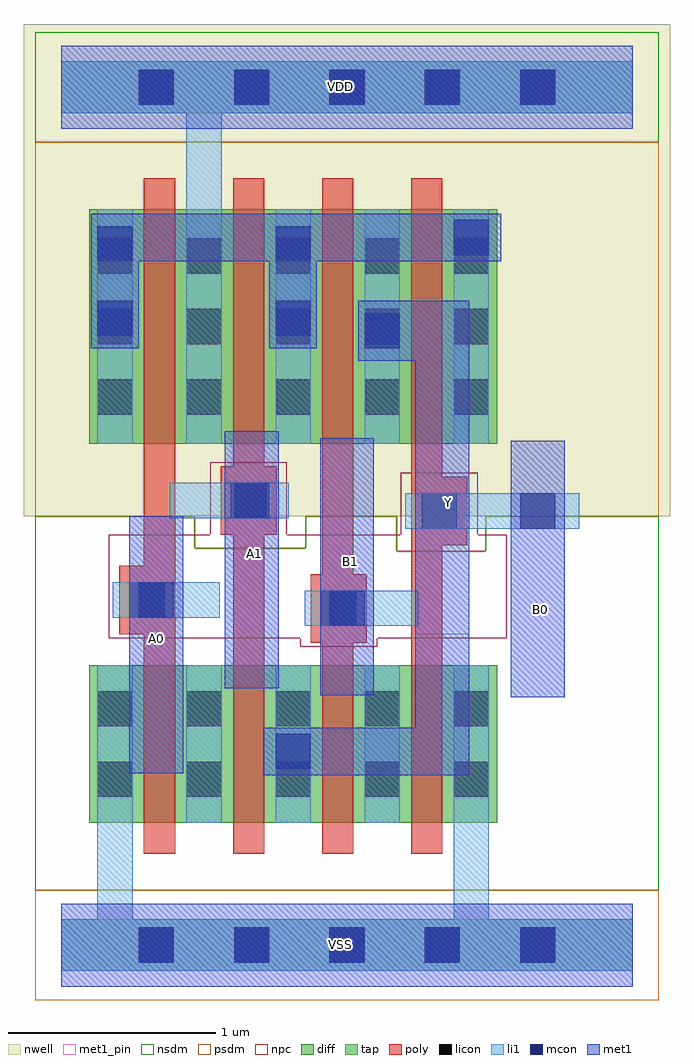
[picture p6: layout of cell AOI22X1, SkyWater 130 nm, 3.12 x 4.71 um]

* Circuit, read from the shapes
.subckt AOI22X1 A0 A1 B0 B1 VDD VSS Y
XM1 n1 A0 VSS VSS sky130_fd_pr__nfet_01v8 w=0.76 l=0.15
XM2 Y A1 n1 VSS sky130_fd_pr__nfet_01v8 w=0.76 l=0.15
XM3 n2 B1 Y VSS sky130_fd_pr__nfet_01v8 w=0.76 l=0.15
XM4 VSS B0 n2 VSS sky130_fd_pr__nfet_01v8 w=0.76 l=0.15
XM5 VDD A0 n3 VDD sky130_fd_pr__pfet_01v8 w=1.13 l=0.15
XM6 n3 A1 VDD VDD sky130_fd_pr__pfet_01v8 w=1.13 l=0.15
XM7 Y B1 n3 VDD sky130_fd_pr__pfet_01v8 w=1.13 l=0.15
XM8 n3 B0 Y VDD sky130_fd_pr__pfet_01v8 w=1.13 l=0.15
.ends

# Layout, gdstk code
from math import pi, radians
import gdstk
lib = gdstk.Library(unit=1e-6, precision=1e-09)
def R(c, l, rs):  # rectangles x0, y0, x1, y1
    for r in rs: c.add(gdstk.rectangle(r[:2], r[2:], *l))
def A(c, l, x, y, w, h, nx, ny, dx, dy):  # array of equal rectangles
    R(c, l, [(x+i*dx, y+j*dy, x+i*dx+w, y+j*dy+h) for i in range(nx) for j in range(ny)])
def P(c, l, *ps):  # polygons
    for p in ps: c.add(gdstk.Polygon(p, *l))
nwell = (64, 20)
diff = (65, 20)
tap = (65, 44)
poly = (66, 20)
licon = (66, 44)
li1 = (67, 20)
mcon = (67, 44)
met1_pin = (68, 16)
met1 = (68, 20)
nsdm = (93, 44)
psdm = (94, 20)
npc = (95, 20)

nfet_01v8_cdns_716492285 = lib.new_cell('nfet_01v8_CDNS_71649228522219')
R(nfet_01v8_cdns_716492285, diff, [(-0.225,0,0,0.76), (0,0,0.15,0.76), (0.15,0,0.375,0.76)])
R(nfet_01v8_cdns_716492285, poly, [(0,-0.15,0.15,-0.095), (0,-0.095,0.15,0), (0,0,0.15,0.76), (0,0.76,0.15,0.855), (0,0.855,0.15,0.91)])
R(nfet_01v8_cdns_716492285, licon, [(0.205,0.125,0.375,0.295), (0.205,0.465,0.375,0.635)])
R(nfet_01v8_cdns_716492285, li1, [(0.205,0,0.375,0.76)])
R(nfet_01v8_cdns_716492285, nsdm, [(-0.235,-0.13,0.385,0.89)])

pfet_01v8_cdns_716492285 = lib.new_cell('pfet_01v8_CDNS_71649228522130')
R(pfet_01v8_cdns_716492285, nwell, [(-0.235,-0.18,0.555,1.31)])
R(pfet_01v8_cdns_716492285, diff, [(-0.055,0,0,1.13), (0,0,0.15,1.13), (0.15,0,0.375,1.13)])
R(pfet_01v8_cdns_716492285, poly, [(0,-0.15,0.15,-0.095), (0,-0.095,0.15,0), (0,0,0.15,1.13), (0,1.13,0.15,1.225), (0,1.225,0.15,1.28)])
A(pfet_01v8_cdns_716492285, licon, 0.205, 0.14, 0.17, 0.17, 1, 3, 0, 0.34)
R(pfet_01v8_cdns_716492285, li1, [(0.205,0,0.375,1.13)])
R(pfet_01v8_cdns_716492285, psdm, [(-0.065,-0.13,0.385,1.26)])

c_pfet_01v8_cdns_716492285 = lib.new_cell('pfet_01v8_CDNS_7164922852212')
R(c_pfet_01v8_cdns_716492285, nwell, [(-0.405,-0.18,0.595,1.31)])
R(c_pfet_01v8_cdns_716492285, diff, [(-0.225,0,0,1.13), (0,0,0.15,1.13), (0.15,0,0.415,1.13)])
R(c_pfet_01v8_cdns_716492285, poly, [(0,-0.15,0.15,-0.095), (0,-0.095,0.15,0), (0,0,0.15,1.13), (0,1.13,0.15,1.225), (0,1.225,0.15,1.28)])
A(c_pfet_01v8_cdns_716492285, licon, -0.225, 0.14, 0.17, 0.17, 1, 3, 0, 0.34)
A(c_pfet_01v8_cdns_716492285, licon, 0.205, 0.14, 0.17, 0.17, 1, 3, 0, 0.34)
R(c_pfet_01v8_cdns_716492285, li1, [(-0.225,0,-0.055,1.13), (0.205,0,0.375,1.13)])
R(c_pfet_01v8_cdns_716492285, psdm, [(-0.235,-0.13,0.555,1.26)])

c_nfet_01v8_cdns_716492285 = lib.new_cell('nfet_01v8_CDNS_71649228522220')
R(c_nfet_01v8_cdns_716492285, diff, [(-0.225,0,0,0.76), (0,0,0.15,0.76), (0.15,0,0.205,0.76)])
R(c_nfet_01v8_cdns_716492285, poly, [(0,-0.15,0.15,-0.095), (0,-0.095,0.15,0), (0,0,0.15,0.76), (0,0.76,0.15,0.855), (0,0.855,0.15,0.91)])
R(c_nfet_01v8_cdns_716492285, nsdm, [(-0.235,-0.13,0.215,0.89)])

c_nfet_01v8_cdns_716492285_ = lib.new_cell('nfet_01v8_CDNS_71649228522221')
R(c_nfet_01v8_cdns_716492285_, diff, [(-0.265,0,0,0.76), (0,0,0.15,0.76), (0.15,0,0.205,0.76)])
R(c_nfet_01v8_cdns_716492285_, poly, [(0,-0.15,0.15,-0.095), (0,-0.095,0.15,0), (0,0,0.15,0.76), (0,0.76,0.15,0.855), (0,0.855,0.15,0.91)])
R(c_nfet_01v8_cdns_716492285_, licon, [(-0.225,0.125,-0.055,0.295), (-0.225,0.465,-0.055,0.635)])
R(c_nfet_01v8_cdns_716492285_, li1, [(-0.225,0,-0.055,0.76)])
R(c_nfet_01v8_cdns_716492285_, nsdm, [(-0.405,-0.13,0.215,0.89)])

c_pfet_01v8_cdns_716492285_ = lib.new_cell('pfet_01v8_CDNS_71649228522145')
R(c_pfet_01v8_cdns_716492285_, nwell, [(-0.445,-0.18,0.385,1.31)])
R(c_pfet_01v8_cdns_716492285_, diff, [(-0.265,0,0,1.13), (0,0,0.15,1.13), (0.15,0,0.205,1.13)])
R(c_pfet_01v8_cdns_716492285_, poly, [(0,-0.15,0.15,-0.095), (0,-0.095,0.15,0), (0,0,0.15,1.13), (0,1.13,0.15,1.225), (0,1.225,0.15,1.28)])
A(c_pfet_01v8_cdns_716492285_, licon, -0.225, 0.14, 0.17, 0.17, 1, 3, 0, 0.34)
R(c_pfet_01v8_cdns_716492285_, li1, [(-0.225,0,-0.055,1.13)])
R(c_pfet_01v8_cdns_716492285_, psdm, [(-0.405,-0.13,0.215,1.26)])

c_pfet_01v8_cdns_716492285__ = lib.new_cell('pfet_01v8_CDNS_71649228522222')
R(c_pfet_01v8_cdns_716492285__, nwell, [(-0.235,-0.18,0.555,1.31)])
R(c_pfet_01v8_cdns_716492285__, diff, [(-0.055,0,0,1.13), (0,0,0.15,1.13), (0.15,0,0.375,1.13)])
R(c_pfet_01v8_cdns_716492285__, poly, [(0,-0.15,0.15,-0.095), (0,-0.095,0.15,0), (0,0,0.15,1.13), (0,1.13,0.15,1.225), (0,1.225,0.15,1.28)])
A(c_pfet_01v8_cdns_716492285__, licon, 0.205, 0.14, 0.17, 0.17, 1, 3, 0, 0.34)
R(c_pfet_01v8_cdns_716492285__, li1, [(0.205,0,0.375,1.13)])
R(c_pfet_01v8_cdns_716492285__, psdm, [(-0.065,-0.13,0.385,1.26)])

l1m1_c_cdns_716492285222 = lib.new_cell('L1M1_C_CDNS_716492285222')
R(l1m1_c_cdns_716492285222, li1, [(-0.085,-0.165,0.085,0.165)])
R(l1m1_c_cdns_716492285222, mcon, [(-0.085,-0.085,0.085,0.085)])
R(l1m1_c_cdns_716492285222, met1, [(-0.115,-0.145,0.115,0.145)])

l1m1_c_cdns_716492285226 = lib.new_cell('L1M1_C_CDNS_716492285226')
R(l1m1_c_cdns_716492285226, li1, [(-0.085,-0.165,0.085,0.165)])
R(l1m1_c_cdns_716492285226, mcon, [(-0.085,-0.085,0.085,0.085)])
R(l1m1_c_cdns_716492285226, met1, [(-0.145,-0.115,0.145,0.115)])

licondiff_c_cdns_7164922 = lib.new_cell('LICONDIFF_C_CDNS_7164922852213')
R(licondiff_c_cdns_7164922, diff, [(-0.125,-0.145,0.125,0.145)])
R(licondiff_c_cdns_7164922, licon, [(-0.085,-0.085,0.085,0.085), (-0.085,-0.085,0.085,0.085)])

pyl1con_c_cdns_716492285 = lib.new_cell('PYL1CON_C_CDNS_716492285220')
R(pyl1con_c_cdns_716492285, poly, [(-0.135,-0.165,0.135,0.165)])
R(pyl1con_c_cdns_716492285, licon, [(-0.085,-0.085,0.085,0.085)])
R(pyl1con_c_cdns_716492285, npc, [(-0.185,-0.185,0.185,0.185)])

l1m1_c_cdns_716492285223 = lib.new_cell('L1M1_C_CDNS_7164922852239')
R(l1m1_c_cdns_716492285223, li1, [(-0.085,-0.085,0.085,0.085)])
R(l1m1_c_cdns_716492285223, mcon, [(-0.085,-0.085,0.085,0.085)])
R(l1m1_c_cdns_716492285223, met1, [(-0.145,-0.115,0.145,0.115)])

c_l1m1_c_cdns_716492285223 = lib.new_cell('L1M1_C_CDNS_716492285223')
R(c_l1m1_c_cdns_716492285223, li1, [(-0.165,-0.085,0.165,0.085)])
R(c_l1m1_c_cdns_716492285223, mcon, [(-0.085,-0.085,0.085,0.085)])
R(c_l1m1_c_cdns_716492285223, met1, [(-0.115,-0.145,0.115,0.145)])

l1m1_c_cdns_716492285225 = lib.new_cell('L1M1_C_CDNS_716492285225')
R(l1m1_c_cdns_716492285225, li1, [(-0.085,-0.345,0.085,0.345)])
R(l1m1_c_cdns_716492285225, mcon, [(-0.085,-0.265,0.085,-0.095), (-0.085,0.095,0.085,0.265)])
R(l1m1_c_cdns_716492285225, met1, [(-0.115,-0.325,0.115,0.325)])

aoi22x1 = lib.new_cell('AOI22X1')
R(aoi22x1, nwell, [(-0.18,2.07,2.94,4.305), (-0.18,3.875,2.94,4.445)])
A(aoi22x1, licon, 0.375, -0.085, 0.17, 0.17, 5, 2, 0.46, 4.14)
A(aoi22x1, mcon, 0.375, -0.085, 0.17, 0.17, 5, 2, 0.46, 4.14)
R(aoi22x1, met1_pin, [(0.33,0.83,0.59,2.07), (2.17,1.195,2.43,2.435), (1.25,1.205,1.51,2.445), (0.79,1.24,1.05,2.48), (1.71,1.5,1.97,3.11)])
R(aoi22x1, met1, [(1.435,2.82,1.97,3.11)])
R(aoi22x1, nsdm, [(-0.125,3.875,2.885,4.405), (-0.125,3.93,2.885,4.35)])
P(aoi22x1, nsdm, [(2.885,2.07),(2.05,2.07),(2.05,1.9),(1.62,1.9),(1.62,2.07),(1.18,2.07),(1.18,1.915),(0.645,1.915),(0.645,2.07),(-0.125,2.07),(-0.125,0.265),(2.885,0.265)])
R(aoi22x1, psdm, [(-0.125,-0.265,2.885,0.265), (-0.125,-0.21,2.885,0.21)])
P(aoi22x1, psdm, [(2.885,3.875),(-0.125,3.875),(-0.125,2.07),(0.645,2.07),(0.645,1.915),(1.18,1.915),(1.18,2.07),(1.62,2.07),(1.62,1.9),(2.05,1.9),(2.05,2.07),(2.885,2.07)])
R(aoi22x1, npc, [(0.23,1.48,2.15,1.98)])
aoi22x1.add(gdstk.FlexPath([(0.755,2.145),(1.1,2.145)], 0.17, ends="flush", simple_path=True, layer=67, datatype=20))  # li1
aoi22x1.add(gdstk.FlexPath([(1.175,1.625),(1.725,1.625)], 0.17, ends="flush", simple_path=True, layer=67, datatype=20))  # li1
aoi22x1.add(gdstk.FlexPath([(2.5,2.095),(1.66,2.095)], 0.17, ends="flush", simple_path=True, layer=67, datatype=20))  # li1
aoi22x1.add(gdstk.FlexPath([(0.69,0.59),(0.69,1.35)], 0.17, ends="flush", simple_path=True, layer=67, datatype=20))  # li1
aoi22x1.add(gdstk.FlexPath([(1.1,2.145),(0.525,2.145)], 0.17, ends="flush", simple_path=True, layer=67, datatype=20))  # li1
aoi22x1.add(gdstk.FlexPath([(0.765,1.665),(0.25,1.665)], 0.17, ends="flush", simple_path=True, layer=67, datatype=20))  # li1
aoi22x1.add(gdstk.FlexPath([(0.295,1.665),(0.64,1.665)], 0.17, ends="flush", simple_path=True, layer=67, datatype=20))  # li1
aoi22x1.add(gdstk.FlexPath([(1.215,1.625),(1.56,1.625)], 0.17, ends="flush", simple_path=True, layer=67, datatype=20))  # li1
aoi22x1.add(gdstk.FlexPath([(1.55,0.59),(1.55,1.35)], 0.17, ends="flush", simple_path=True, layer=67, datatype=20))  # li1
aoi22x1.add(gdstk.FlexPath([(0,0),(0.69,0)], 0.25, ends=(0, 0.085), simple_path=True, layer=67, datatype=20))  # li1
aoi22x1.add(gdstk.FlexPath([(0.69,0),(2.76,0)], 0.25, ends=(0.085, 0), simple_path=True, layer=67, datatype=20))  # li1
aoi22x1.add(gdstk.FlexPath([(0,4.14),(0.69,4.14)], 0.25, ends=(0, 0.085), simple_path=True, layer=67, datatype=20))  # li1
aoi22x1.add(gdstk.FlexPath([(0.69,4.14),(2.76,4.14)], 0.25, ends=(0.085, 0), simple_path=True, layer=67, datatype=20))  # li1
aoi22x1.add(gdstk.FlexPath([(0.26,0.59),(0.26,0)], 0.17, ends="flush", simple_path=True, layer=67, datatype=20))  # li1
aoi22x1.add(gdstk.FlexPath([(0.69,3.55),(0.69,4.14)], 0.17, ends=(0, 0.125), simple_path=True, layer=67, datatype=20))  # li1
aoi22x1.add(gdstk.FlexPath([(1.98,0.59),(1.98,0)], 0.17, ends="flush", simple_path=True, layer=67, datatype=20))  # li1
aoi22x1.add(gdstk.FlexPath([(1.765,2.27),(1.765,1.5)], 0.15, ends="flush", simple_path=True, layer=66, datatype=20))  # poly
aoi22x1.add(gdstk.FlexPath([(1.335,2.27),(1.335,1.5)], 0.15, ends="flush", simple_path=True, layer=66, datatype=20))  # poly
aoi22x1.add(gdstk.FlexPath([(0.905,2.27),(0.905,1.5)], 0.15, ends="flush", simple_path=True, layer=66, datatype=20))  # poly
aoi22x1.add(gdstk.FlexPath([(0.475,2.27),(0.475,1.5)], 0.15, ends="flush", simple_path=True, layer=66, datatype=20))  # poly
aoi22x1.add(gdstk.FlexPath([(2.3,2.435),(2.3,1.195)], 0.26, ends="flush", simple_path=True, layer=68, datatype=20))  # met1
aoi22x1.add(gdstk.FlexPath([(1.38,2.445),(1.38,1.205)], 0.26, ends="flush", simple_path=True, layer=68, datatype=20))  # met1
aoi22x1.add(gdstk.FlexPath([(0.92,2.48),(0.92,1.24)], 0.26, ends="flush", simple_path=True, layer=68, datatype=20))  # met1
aoi22x1.add(gdstk.FlexPath([(0.46,2.07),(0.46,0.83)], 0.26, ends="flush", simple_path=True, layer=68, datatype=20))  # met1
aoi22x1.add(gdstk.FlexPath([(1.84,3.11),(1.84,0.965)], 0.26, ends=(0, 0.145), simple_path=True, layer=68, datatype=20))  # met1
aoi22x1.add(gdstk.FlexPath([(0.26,3.415),(1.98,3.415)], 0.23, ends=(0.115, 0), simple_path=True, layer=68, datatype=20))  # met1
aoi22x1.add(gdstk.FlexPath([(0.26,3.37),(0.26,3.415)], 0.23, ends=(0, 0.115), simple_path=True, layer=68, datatype=20))  # met1
aoi22x1.add(gdstk.FlexPath([(1.84,0.935),(1.12,0.935)], 0.23, ends="flush", simple_path=True, layer=68, datatype=20))  # met1
aoi22x1.add(gdstk.FlexPath([(0,4.14),(2.76,4.14)], 0.4, ends="flush", simple_path=True, layer=68, datatype=20))  # met1
aoi22x1.add(gdstk.FlexPath([(0,0),(2.76,0)], 0.4, ends="flush", simple_path=True, layer=68, datatype=20))  # met1
aoi22x1.add(gdstk.FlexPath([(0,0),(2.76,0)], 0.25, ends="flush", simple_path=True, layer=65, datatype=44))  # tap
aoi22x1.add(gdstk.FlexPath([(0,4.14),(2.76,4.14)], 0.25, ends="flush", simple_path=True, layer=65, datatype=44))  # tap
aoi22x1.add(gdstk.FlexPath([(0,4.14),(2.76,4.14)], 0.4, ends="flush", simple_path=True, layer=68, datatype=16))  # met1_pin
aoi22x1.add(gdstk.FlexPath([(0,0),(2.76,0)], 0.4, ends="flush", simple_path=True, layer=68, datatype=16))  # met1_pin
aoi22x1.add(gdstk.Reference(nfet_01v8_cdns_716492285, (0.83,0.59)))
aoi22x1.add(gdstk.Reference(pfet_01v8_cdns_716492285, (1.26,2.42)))
aoi22x1.add(gdstk.Reference(c_pfet_01v8_cdns_716492285, (0.55,2.42), rotation=pi, x_reflection=True))
aoi22x1.add(gdstk.Reference(c_nfet_01v8_cdns_716492285, (1.41,0.59), rotation=pi, x_reflection=True))
aoi22x1.add(gdstk.Reference(c_nfet_01v8_cdns_716492285_, (0.4,0.59)))
aoi22x1.add(gdstk.Reference(c_nfet_01v8_cdns_716492285_, (1.84,0.59), rotation=pi, x_reflection=True))
aoi22x1.add(gdstk.Reference(c_pfet_01v8_cdns_716492285_, (1.84,2.42), rotation=pi, x_reflection=True))
aoi22x1.add(gdstk.Reference(c_pfet_01v8_cdns_716492285__, (0.83,2.42)))
aoi22x1.add(gdstk.Reference(l1m1_c_cdns_716492285222, (1.55,2.965)))
aoi22x1.add(gdstk.Reference(l1m1_c_cdns_716492285226, (1.12,0.935)))
aoi22x1.add(gdstk.Reference(licondiff_c_cdns_7164922, (1.55,1.14)))
aoi22x1.add(gdstk.Reference(licondiff_c_cdns_7164922, (1.55,0.8)))
aoi22x1.add(gdstk.Reference(licondiff_c_cdns_7164922, (0.69,1.14)))
aoi22x1.add(gdstk.Reference(licondiff_c_cdns_7164922, (0.69,0.8)))
aoi22x1.add(gdstk.Reference(pyl1con_c_cdns_716492285, (1.34,1.625)))
aoi22x1.add(gdstk.Reference(pyl1con_c_cdns_716492285, (1.825,2.095)))
aoi22x1.add(gdstk.Reference(pyl1con_c_cdns_716492285, (0.905,2.145)))
aoi22x1.add(gdstk.Reference(pyl1con_c_cdns_716492285, (0.415,1.665)))
aoi22x1.add(gdstk.Reference(l1m1_c_cdns_716492285223, (1.98,3.415)))
aoi22x1.add(gdstk.Reference(c_l1m1_c_cdns_716492285223, (1.38,1.625)))
aoi22x1.add(gdstk.Reference(c_l1m1_c_cdns_716492285223, (2.3,2.095)))
aoi22x1.add(gdstk.Reference(c_l1m1_c_cdns_716492285223, (0.92,2.145)))
aoi22x1.add(gdstk.Reference(c_l1m1_c_cdns_716492285223, (0.46,1.665)))
aoi22x1.add(gdstk.Reference(l1m1_c_cdns_716492285225, (1.12,3.205)))
aoi22x1.add(gdstk.Reference(l1m1_c_cdns_716492285225, (0.26,3.205)))
aoi22x1.add(gdstk.Label('VDD', (1.35,4.145), layer=68, texttype=5))
aoi22x1.add(gdstk.Label('Y', (1.87,2.135), layer=68, texttype=5))
aoi22x1.add(gdstk.Label('A1', (0.935,1.89), layer=68, texttype=5))
aoi22x1.add(gdstk.Label('A0', (0.46,1.48), layer=68, texttype=5))
aoi22x1.add(gdstk.Label('B1', (1.395,1.85), layer=68, texttype=5))
aoi22x1.add(gdstk.Label('B0', (2.315,1.62), layer=68, texttype=5))
aoi22x1.add(gdstk.Label('VSS', (1.35,0.005), layer=68, texttype=5))

lib.write_gds('AOI22X1.gds')
